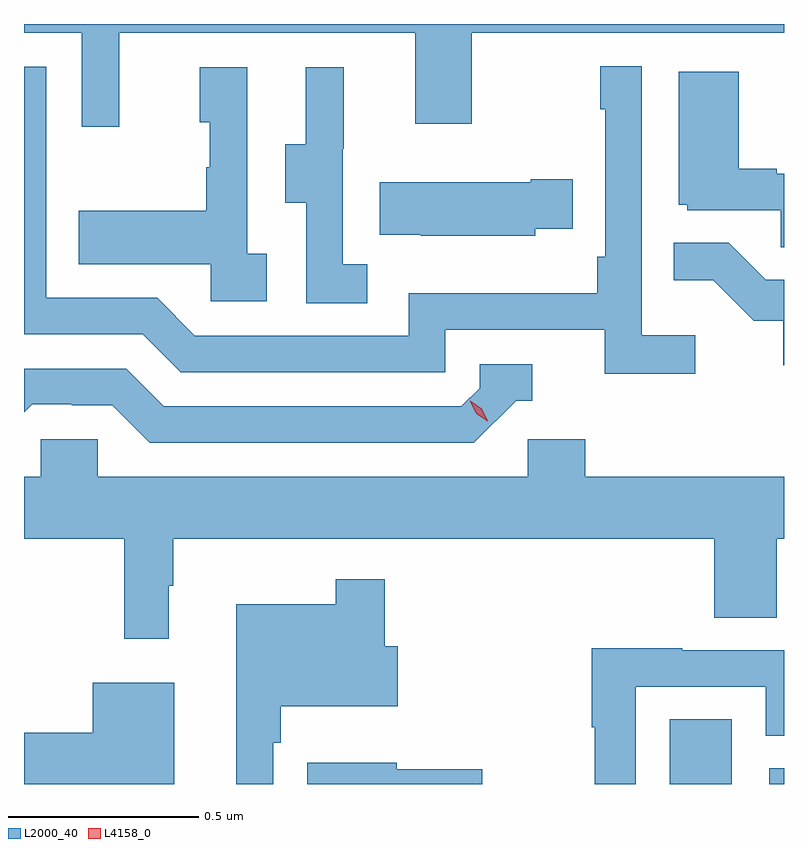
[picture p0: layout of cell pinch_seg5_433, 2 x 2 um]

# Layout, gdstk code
import gdstk
lib = gdstk.Library(unit=1e-6, precision=1e-09)
def R(c, l, rs):  # rectangles x0, y0, x1, y1
    for r in rs: c.add(gdstk.rectangle(r[:2], r[2:], *l))
def P(c, l, *ps):  # polygons
    for p in ps: c.add(gdstk.Polygon(p, *l))
L2000_40 = (2000, 40)
L4158_0 = (4158, 0)

pinch_seg5_433 = lib.new_cell('pinch_seg5_433')
R(pinch_seg5_433, L2000_40, [(977.618,862.775,977.782,862.945), (977.88,862.775,977.919,862.817)])
P(pinch_seg5_433, L2000_40, [(976.169,864.752),(976.949,864.752),(976.949,864.513),(977.097,864.513),(977.097,864.752),(977.919,864.752),(977.919,864.775),(975.919,864.775),(975.919,864.752),(976.071,864.752),(976.071,864.504),(976.169,864.504)],
  [(977.686,863.956),(977.544,863.956),(977.544,864.664),(977.436,864.664),(977.436,864.551),(977.448,864.551),(977.448,864.163),(977.428,864.163),(977.428,864.067),(976.932,864.067),(976.932,863.955),(976.368,863.955),(976.269,864.054),(975.978,864.054),(975.978,864.663),(975.919,864.663),(975.919,863.958),(976.232,863.958),(976.331,863.859),(977.028,863.859),(977.028,863.97),(977.447,863.97),(977.447,863.854),(977.686,863.854)],
  [(976.558,864.17),(976.506,864.17),(976.506,864.661),(976.382,864.661),(976.382,864.516),(976.408,864.516),(976.408,864.398),(976.398,864.398),(976.398,864.283),(976.063,864.283),(976.063,864.143),(976.41,864.143),(976.41,864.045),(976.558,864.045)],
  [(976.822,864.143),(976.758,864.143),(976.758,864.447),(976.76,864.447),(976.76,864.661),(976.661,864.661),(976.661,864.459),(976.607,864.459),(976.607,864.304),(976.662,864.304),(976.662,864.04),(976.822,864.04)],
  [(977.919,864.381),(977.9,864.381),(977.9,864.394),(977.8,864.394),(977.8,864.649),(977.642,864.649),(977.642,864.3),(977.664,864.3),(977.664,864.285),(977.911,864.285),(977.911,864.187),(977.919,864.187)],
  [(977.265,864.236),(977.363,864.236),(977.363,864.366),(977.252,864.366),(977.252,864.358),(976.855,864.358),(976.855,864.221),(976.963,864.221),(976.963,864.218),(977.265,864.218)],
  [(977.919,864.102),(977.871,864.102),(977.773,864.2),(977.629,864.2),(977.629,864.101),(977.733,864.101),(977.84,863.994),(977.917,863.994),(977.917,863.877),(977.919,863.877)],
  [(977.214,863.784),(977.257,863.784),(977.257,863.88),(977.118,863.88),(977.118,863.817),(977.07,863.769),(976.287,863.769),(976.188,863.868),(975.919,863.868),(975.919,863.753),(975.941,863.775),(976.044,863.775),(976.044,863.772),(976.151,863.772),(976.25,863.673),(977.103,863.673)],
  [(977.735,863.212),(977.9,863.212),(977.9,863.42),(977.919,863.42),(977.919,863.584),(977.396,863.584),(977.396,863.682),(977.244,863.682),(977.244,863.584),(976.113,863.584),(976.113,863.682),(975.963,863.682),(975.963,863.584),(975.919,863.584),(975.919,863.42),(976.183,863.42),(976.183,863.157),(976.3,863.157),(976.3,863.297),(976.312,863.297),(976.312,863.42),(977.735,863.42)],
  [(976.575,862.883),(976.595,862.883),(976.595,862.979),(976.903,862.979),(976.903,863.137),(976.868,863.137),(976.868,863.314),(976.74,863.314),(976.74,863.248),(976.478,863.248),(976.478,862.775),(976.575,862.775)],
  [(977.529,863.031),(977.871,863.031),(977.871,862.902),(977.919,862.902),(977.919,863.127),(977.651,863.127),(977.651,863.132),(977.413,863.132),(977.413,862.924),(977.421,862.924),(977.421,862.775),(977.529,862.775)],
  [(976.315,863.041),(976.1,863.041),(976.1,862.91),(975.919,862.91),(975.919,862.775),(976.315,862.775)],
  [(977.125,862.814),(976.9,862.814),(976.9,862.831),(976.664,862.831),(976.664,862.775),(977.125,862.775)])
P(pinch_seg5_433, L4158_0, [(977.14,863.729),(977.109,863.749),(977.093,863.782),(977.093,863.783),(977.093,863.783),(977.124,863.763),(977.14,863.73),(977.14,863.729)])

lib.write_gds('pinch_seg5_433.gds')
